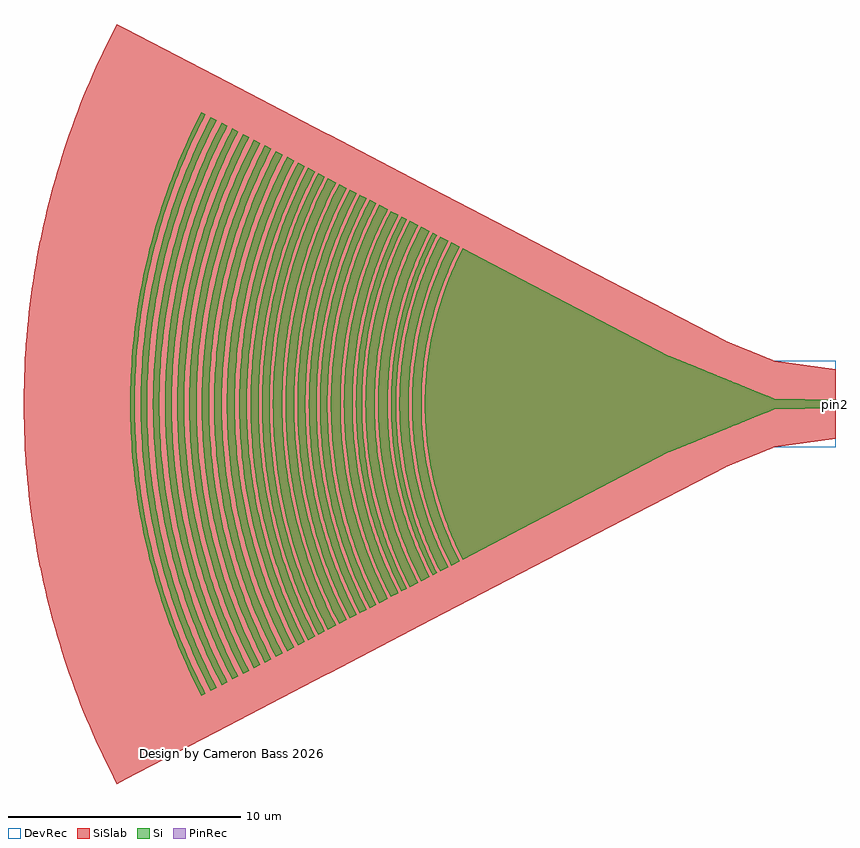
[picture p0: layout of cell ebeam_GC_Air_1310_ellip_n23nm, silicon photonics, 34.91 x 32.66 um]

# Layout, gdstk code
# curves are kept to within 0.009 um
import gdstk
lib = gdstk.Library(unit=1e-6, precision=1e-09)
def P(c, l, *ps):  # polygons
    for p in ps: c.add(gdstk.Polygon(p, *l))
Si = (1, 0)
PinRec = (1, 10)
SiSlab = (2, 0)
DevRec = (68, 0)

ebeam_gc_air_1310_ellip_ = lib.new_cell('ebeam_GC_Air_1310_ellip_n23nm')
P(ebeam_gc_air_1310_ellip_, Si, [(-16.038,-6.685),(-16.389,-5.959),(-16.713,-5.177),(-16.991,-4.377),(-17.256,-3.425),(-17.431,-2.597),(-17.558,-1.76),(-17.636,-0.916),(-17.664,-0.071),(-17.644,0.776),(-17.574,1.621),(-17.455,2.458),(-17.289,3.289),(-17.073,4.107),(-16.762,5.045),(-16.446,5.831),(-16.038,6.685),(-7.161,2.062),(-3.194,0.443),(-2.886,0.329),(-2.7,0.241),(-2.652,0.227),(0,0.175),(0,-0.175),(-2.684,-0.235),(-2.855,-0.316),(-3.209,-0.449),(-7.132,-2.049)],
  [(-16.531,-6.94),(-16.892,-6.189),(-17.229,-5.377),(-17.517,-4.546),(-17.683,-3.984),(-17.792,-3.558),(-17.974,-2.697),(-18.105,-1.828),(-18.195,-0.806),(-18.216,0.074),(-18.186,0.953),(-18.087,1.973),(-17.947,2.841),(-17.757,3.701),(-17.517,4.546),(-17.229,5.377),(-16.892,6.189),(-16.53,6.941),(-16.168,6.752),(-16.522,6.019),(-16.9,5.096),(-17.172,4.286),(-17.397,3.461),(-17.575,2.624),(-17.703,1.778),(-17.79,0.784),(-17.81,0.071),(-17.79,-0.784),(-17.703,-1.778),(-17.575,-2.623),(-17.397,-3.46),(-17.172,-4.286),(-16.9,-5.096),(-16.522,-6.019),(-16.168,-6.752)],
  [(-17.011,-7.191),(-17.386,-6.413),(-17.735,-5.572),(-18.033,-4.711),(-18.282,-3.834),(-18.478,-2.945),(-18.623,-2.045),(-18.716,-1.138),(-18.743,-0.683),(-18.757,-0.076),(-18.735,0.835),(-18.66,1.743),(-18.603,2.196),(-18.506,2.795),(-18.318,3.687),(-18.164,4.275),(-18.033,4.711),(-17.735,5.572),(-17.386,6.413),(-17.011,7.191),(-16.659,7.008),(-16.902,6.519),(-17.085,6.114),(-17.417,5.291),(-17.7,4.449),(-17.934,3.592),(-18.118,2.724),(-18.251,1.846),(-18.332,0.962),(-18.362,0.074),(-18.341,-0.813),(-18.251,-1.846),(-18.118,-2.724),(-17.934,-3.592),(-17.7,-4.449),(-17.417,-5.291),(-17.085,-6.114),(-16.902,-6.519),(-16.659,-7.008)],
  [(-17.331,-7.358),(-17.715,-6.562),(-18.072,-5.701),(-18.377,-4.82),(-18.632,-3.923),(-18.833,-3.013),(-18.914,-2.553),(-19.001,-1.938),(-19.087,-1.009),(-19.118,-0.078),(-19.096,0.855),(-19.001,1.938),(-18.861,2.86),(-18.669,3.773),(-18.423,4.671),(-18.126,5.555),(-17.778,6.42),(-17.331,7.358),(-17.141,7.258),(-17.581,6.333),(-17.977,5.337),(-18.126,4.901),(-18.304,4.314),(-18.529,3.423),(-18.677,2.671),(-18.788,1.912),(-18.872,0.997),(-18.903,0.077),(-18.881,-0.843),(-18.822,-1.607),(-18.726,-2.367),(-18.562,-3.273),(-18.304,-4.314),(-18.126,-4.901),(-17.977,-5.336),(-17.581,-6.333),(-17.141,-7.258)],
  [(-17.828,-7.616),(-18.224,-6.791),(-18.593,-5.901),(-18.957,-4.835),(-19.211,-3.904),(-19.41,-2.96),(-19.554,-2.006),(-19.643,-1.044),(-19.676,-0.08),(-19.652,0.885),(-19.573,1.846),(-19.438,2.802),(-19.318,3.434),(-19.211,3.904),(-18.957,4.835),(-18.649,5.75),(-18.289,6.645),(-17.828,7.616),(-17.461,7.425),(-17.912,6.479),(-18.263,5.606),(-18.517,4.864),(-18.773,3.96),(-19.006,2.886),(-19.146,1.956),(-19.21,1.332),(-19.242,0.862),(-19.264,0.078),(-19.242,-0.862),(-19.21,-1.332),(-19.146,-1.956),(-19.006,-2.886),(-18.81,-3.806),(-18.563,-4.715),(-18.263,-5.606),(-17.912,-6.479),(-17.461,-7.425)],
  [(-18.308,-7.866),(-18.785,-6.862),(-19.156,-5.938),(-19.475,-4.993),(-19.613,-4.515),(-19.776,-3.87),(-19.999,-2.729),(-20.111,-1.906),(-20.193,-0.913),(-20.217,0.083),(-20.183,1.08),(-20.092,2.071),(-19.942,3.057),(-19.737,4.032),(-19.475,4.993),(-19.269,5.625),(-19.099,6.094),(-18.718,7.014),(-18.307,7.866),(-17.958,7.684),(-18.359,6.852),(-18.551,6.406),(-18.788,5.801),(-19.098,4.879),(-19.354,3.939),(-19.556,2.986),(-19.701,2.024),(-19.791,1.054),(-19.824,0.081),(-19.8,-0.892),(-19.72,-1.863),(-19.636,-2.506),(-19.556,-2.986),(-19.354,-3.938),(-19.098,-4.878),(-18.788,-5.801),(-18.359,-6.852),(-17.958,-7.684)],
  [(-18.67,-8.054),(-19.09,-7.181),(-19.481,-6.238),(-19.815,-5.274),(-20.007,-4.622),(-20.134,-4.127),(-20.247,-3.63),(-20.374,-2.962),(-20.517,-1.951),(-20.601,-0.935),(-20.625,0.085),(-20.591,1.104),(-20.497,2.121),(-20.344,3.13),(-20.134,4.127),(-20.007,4.622),(-19.815,5.274),(-19.481,6.238),(-19.09,7.181),(-18.669,8.054),(-18.437,7.934),(-18.712,7.379),(-18.986,6.767),(-19.408,5.674),(-19.566,5.196),(-19.754,4.553),(-19.918,3.903),(-20.025,3.413),(-20.17,2.587),(-20.275,1.756),(-20.34,0.921),(-20.364,0.084),(-20.34,-0.921),(-20.275,-1.756),(-20.17,-2.587),(-20.025,-3.413),(-19.918,-3.903),(-19.754,-4.553),(-19.566,-5.196),(-19.408,-5.674),(-19.236,-6.145),(-18.986,-6.767),(-18.712,-7.379),(-18.437,-7.933)],
  [(-19.127,-8.293),(-19.561,-7.394),(-19.963,-6.423),(-20.199,-5.764),(-20.359,-5.263),(-20.636,-4.249),(-20.852,-3.222),(-21.01,-2.183),(-21.106,-1.137),(-21.142,-0.088),(-21.132,0.613),(-21.106,1.137),(-21.01,2.183),(-20.852,3.222),(-20.636,4.25),(-20.359,5.263),(-20.024,6.259),(-19.632,7.234),(-19.415,7.711),(-19.127,8.293),(-18.8,8.122),(-19.225,7.241),(-19.493,6.61),(-19.678,6.13),(-20.006,5.155),(-20.277,4.162),(-20.49,3.156),(-20.644,2.139),(-20.738,1.114),(-20.773,0.086),(-20.748,-0.943),(-20.664,-1.969),(-20.52,-2.987),(-20.426,-3.493),(-20.277,-4.162),(-20.006,-5.155),(-19.678,-6.13),(-19.294,-7.084),(-19.082,-7.553),(-18.8,-8.122)],
  [(-19.626,-8.553),(-20.072,-7.626),(-20.487,-6.626),(-20.729,-5.946),(-20.895,-5.429),(-21.18,-4.384),(-21.403,-3.324),(-21.565,-2.252),(-21.665,-1.173),(-21.702,-0.09),(-21.676,0.993),(-21.586,2.073),(-21.435,3.146),(-21.3,3.855),(-21.18,4.385),(-20.895,5.429),(-20.729,5.946),(-20.487,6.626),(-20.072,7.626),(-19.626,8.553),(-19.257,8.361),(-19.695,7.453),(-20.101,6.475),(-20.281,5.978),(-20.5,5.307),(-20.736,4.456),(-20.965,3.422),(-21.134,2.377),(-21.212,1.675),(-21.253,1.146),(-21.289,0.088),(-21.284,-0.442),(-21.253,-1.146),(-21.156,-2.201),(-20.998,-3.248),(-20.778,-4.284),(-20.5,-5.306),(-20.338,-5.81),(-20.101,-6.475),(-19.767,-7.292),(-19.548,-7.774),(-19.258,-8.361)],
  [(-20.041,-8.769),(-20.5,-7.816),(-20.925,-6.791),(-21.289,-5.741),(-21.448,-5.21),(-21.636,-4.494),(-21.865,-3.407),(-22.031,-2.308),(-22.133,-1.203),(-22.171,-0.093),(-22.144,1.018),(-22.053,2.124),(-21.983,2.676),(-21.865,3.407),(-21.636,4.494),(-21.448,5.21),(-21.289,5.741),(-20.925,6.791),(-20.5,7.817),(-20.041,8.769),(-19.76,8.622),(-19.98,8.182),(-20.284,7.521),(-20.495,7.018),(-20.754,6.337),(-20.986,5.647),(-21.191,4.948),(-21.368,4.242),(-21.485,3.708),(-21.642,2.812),(-21.756,1.908),(-21.827,1.001),(-21.853,0.091),(-21.843,-0.637),(-21.774,-1.727),(-21.669,-2.631),(-21.485,-3.708),(-21.368,-4.241),(-21.191,-4.948),(-20.986,-5.646),(-20.754,-6.337),(-20.495,-7.017),(-20.284,-7.52),(-20.058,-8.018),(-19.76,-8.622)],
  [(-20.461,-8.988),(-20.933,-8.01),(-21.369,-6.958),(-21.741,-5.883),(-22.052,-4.788),(-22.223,-4.049),(-22.332,-3.491),(-22.502,-2.365),(-22.607,-1.232),(-22.646,-0.095),(-22.618,1.043),(-22.524,2.177),(-22.365,3.304),(-22.261,3.863),(-22.097,4.605),(-21.797,5.702),(-21.624,6.244),(-21.369,6.958),(-20.933,8.01),(-20.461,8.988),(-20.171,8.837),(-20.479,8.216),(-20.784,7.535),(-21.063,6.843),(-21.254,6.317),(-21.484,5.608),(-21.639,5.07),(-21.779,4.527),(-21.941,3.8),(-22.102,2.881),(-22.219,1.955),(-22.291,1.025),(-22.318,0.093),(-22.3,-0.839),(-22.237,-1.77),(-22.129,-2.696),(-21.941,-3.8),(-21.779,-4.527),(-21.639,-5.07),(-21.484,-5.608),(-21.254,-6.317),(-21.063,-6.842),(-20.784,-7.535),(-20.479,-8.216),(-20.172,-8.837)],
  [(-20.896,-9.214),(-21.381,-8.207),(-21.827,-7.131),(-22.209,-6.029),(-22.528,-4.907),(-22.662,-4.339),(-22.815,-3.577),(-22.99,-2.424),(-23.097,-1.262),(-23.136,-0.097),(-23.131,0.486),(-23.097,1.263),(-22.99,2.424),(-22.815,3.578),(-22.574,4.719),(-22.267,5.843),(-21.895,6.949),(-21.46,8.031),(-21.218,8.561),(-20.896,9.214),(-20.596,9.057),(-20.913,8.417),(-21.225,7.719),(-21.51,7.01),(-21.707,6.472),(-21.887,5.927),(-22.102,5.194),(-22.245,4.638),(-22.411,3.893),(-22.576,2.951),(-22.696,2.003),(-22.77,1.051),(-22.798,0.096),(-22.779,-0.86),(-22.715,-1.813),(-22.604,-2.762),(-22.411,-3.893),(-22.245,-4.638),(-22.102,-5.194),(-21.887,-5.927),(-21.707,-6.472),(-21.51,-7.01),(-21.225,-7.719),(-20.913,-8.417),(-20.596,-9.057)],
  [(-21.348,-9.449),(-21.844,-8.418),(-22.302,-7.313),(-22.694,-6.183),(-22.919,-5.418),(-23.068,-4.838),(-23.315,-3.669),(-23.494,-2.486),(-23.604,-1.294),(-23.639,-0.498),(-23.644,0.1),(-23.633,0.698),(-23.604,1.295),(-23.494,2.486),(-23.315,3.669),(-23.068,4.839),(-22.919,5.418),(-22.694,6.183),(-22.302,7.313),(-21.844,8.418),(-21.347,9.449),(-21.026,9.281),(-21.267,8.801),(-21.594,8.089),(-21.821,7.548),(-22.1,6.816),(-22.35,6.073),(-22.518,5.51),(-22.716,4.753),(-22.887,3.989),(-23.056,3.025),(-23.179,2.052),(-23.255,1.076),(-23.283,0.098),(-23.264,-0.881),(-23.198,-1.858),(-23.085,-2.83),(-22.887,-3.988),(-22.716,-4.752),(-22.518,-5.51),(-22.35,-6.073),(-22.1,-6.816),(-21.821,-7.548),(-21.594,-8.089),(-21.351,-8.624),(-21.026,-9.281)],
  [(-21.836,-9.702),(-22.344,-8.645),(-22.588,-8.081),(-22.814,-7.51),(-23.217,-6.35),(-23.393,-5.762),(-23.601,-4.97),(-23.737,-4.37),(-23.854,-3.768),(-23.955,-3.161),(-24.062,-2.349),(-24.163,-1.126),(-24.192,0.103),(-24.181,0.716),(-24.151,1.33),(-24.038,2.553),(-23.854,3.768),(-23.737,4.37),(-23.601,4.97),(-23.448,5.565),(-23.277,6.154),(-23.09,6.739),(-22.885,7.319),(-22.665,7.891),(-22.427,8.458),(-22.173,9.017),(-21.835,9.703),(-21.477,9.516),(-21.811,8.843),(-22.139,8.11),(-22.366,7.552),(-22.645,6.799),(-22.834,6.227),(-23.06,5.457),(-23.21,4.873),(-23.384,4.09),(-23.558,3.101),(-23.684,2.105),(-23.762,1.104),(-23.791,0.1),(-23.772,-0.903),(-23.704,-1.905),(-23.64,-2.504),(-23.558,-3.1),(-23.384,-4.089),(-23.21,-4.873),(-23.06,-5.456),(-22.834,-6.227),(-22.645,-6.799),(-22.439,-7.365),(-22.139,-8.11),(-21.811,-8.843),(-21.477,-9.516)],
  [(-22.25,-9.918),(-22.77,-8.836),(-23.019,-8.259),(-23.251,-7.676),(-23.532,-6.888),(-23.724,-6.29),(-24.055,-5.079),(-24.193,-4.467),(-24.35,-3.645),(-24.447,-3.025),(-24.526,-2.401),(-24.629,-1.151),(-24.659,0.105),(-24.617,1.36),(-24.568,1.986),(-24.501,2.61),(-24.416,3.232),(-24.313,3.851),(-24.055,5.079),(-23.724,6.29),(-23.532,6.889),(-23.251,7.676),(-23.019,8.26),(-22.77,8.837),(-22.249,9.918),(-21.964,9.77),(-22.306,9.08),(-22.561,8.517),(-22.8,7.947),(-23.094,7.176),(-23.294,6.591),(-23.533,5.802),(-23.693,5.205),(-23.88,4.401),(-23.999,3.794),(-24.1,3.184),(-24.229,2.161),(-24.309,1.133),(-24.339,0.103),(-24.309,-1.133),(-24.229,-2.161),(-24.1,-3.183),(-23.999,-3.794),(-23.88,-4.401),(-23.693,-5.205),(-23.533,-5.801),(-23.294,-6.59),(-23.094,-7.176),(-22.8,-7.947),(-22.561,-8.516),(-22.306,-9.08),(-21.964,-9.77)],
  [(-22.683,-10.144),(-23.218,-9.035),(-23.473,-8.445),(-23.71,-7.849),(-24.13,-6.636),(-24.372,-5.815),(-24.532,-5.193),(-24.674,-4.567),(-24.796,-3.938),(-24.902,-3.304),(-24.989,-2.668),(-25.057,-2.03),(-25.107,-1.389),(-25.138,-0.749),(-25.15,-0.107),(-25.144,0.536),(-25.119,1.177),(-25.076,1.817),(-25.014,2.455),(-24.933,3.093),(-24.834,3.727),(-24.674,4.567),(-24.532,5.193),(-24.372,5.815),(-24.193,6.432),(-23.997,7.044),(-23.784,7.649),(-23.554,8.247),(-23.305,8.84),(-22.947,9.617),(-22.683,10.144),(-22.381,9.987),(-22.732,9.28),(-22.993,8.704),(-23.237,8.122),(-23.537,7.334),(-23.806,6.535),(-23.986,5.929),(-24.15,5.319),(-24.341,4.498),(-24.533,3.463),(-24.676,2.419),(-24.767,1.369),(-24.798,0.738),(-24.81,0.105),(-24.79,-0.948),(-24.753,-1.579),(-24.698,-2.208),(-24.566,-3.253),(-24.341,-4.498),(-24.15,-5.319),(-23.986,-5.929),(-23.806,-6.535),(-23.537,-7.334),(-23.237,-8.122),(-22.993,-8.704),(-22.732,-9.28),(-22.381,-9.987)],
  [(-23.115,-10.369),(-23.665,-9.23),(-23.925,-8.627),(-24.168,-8.018),(-24.598,-6.779),(-24.786,-6.151),(-25.008,-5.306),(-25.153,-4.666),(-25.279,-4.023),(-25.386,-3.376),(-25.475,-2.726),(-25.545,-2.074),(-25.596,-1.419),(-25.628,-0.765),(-25.64,-0.109),(-25.634,0.547),(-25.609,1.202),(-25.564,1.856),(-25.501,2.508),(-25.418,3.16),(-25.279,4.023),(-25.008,5.306),(-24.844,5.941),(-24.662,6.57),(-24.462,7.196),(-24.244,7.814),(-24.008,8.425),(-23.754,9.03),(-23.483,9.627),(-23.115,10.369),(-22.829,10.221),(-23.19,9.492),(-23.543,8.706),(-23.787,8.107),(-24.014,7.502),(-24.289,6.685),(-24.474,6.065),(-24.641,5.441),(-24.837,4.601),(-25.034,3.542),(-25.127,2.902),(-25.202,2.259),(-25.285,1.185),(-25.317,0.108),(-25.296,-0.97),(-25.258,-1.615),(-25.202,-2.259),(-25.034,-3.542),(-24.837,-4.601),(-24.641,-5.441),(-24.474,-6.065),(-24.289,-6.685),(-24.014,-7.502),(-23.787,-8.107),(-23.457,-8.903),(-23.19,-9.492),(-22.829,-10.22)],
  [(-23.584,-10.614),(-24.151,-9.441),(-24.417,-8.825),(-24.665,-8.202),(-24.894,-7.571),(-25.105,-6.935),(-25.298,-6.292),(-25.472,-5.644),(-25.627,-4.991),(-25.802,-4.115),(-25.913,-3.452),(-26.004,-2.788),(-26.075,-2.121),(-26.127,-1.452),(-26.16,-0.782),(-26.173,-0.112),(-26.166,0.559),(-26.14,1.23),(-26.095,1.899),(-26.03,2.566),(-25.945,3.232),(-25.841,3.895),(-25.718,4.555),(-25.525,5.428),(-25.358,6.077),(-25.171,6.721),(-24.966,7.361),(-24.743,7.993),(-24.502,8.618),(-24.242,9.237),(-23.964,9.848),(-23.584,10.614),(-23.288,10.459),(-23.66,9.708),(-23.933,9.106),(-24.189,8.497),(-24.503,7.673),(-24.717,7.047),(-24.974,6.203),(-25.145,5.565),(-25.345,4.706),(-25.547,3.622),(-25.696,2.53),(-25.759,1.872),(-25.804,1.212),(-25.836,0.11),(-25.815,-0.992),(-25.777,-1.652),(-25.719,-2.31),(-25.642,-2.967),(-25.547,-3.622),(-25.345,-4.706),(-25.145,-5.565),(-24.974,-6.203),(-24.717,-7.046),(-24.503,-7.672),(-24.189,-8.497),(-23.933,-9.106),(-23.565,-9.907),(-23.287,-10.459)],
  [(-24.068,-10.865),(-24.36,-10.281),(-24.65,-9.659),(-24.923,-9.028),(-25.177,-8.391),(-25.485,-7.53),(-25.695,-6.876),(-25.886,-6.217),(-26.057,-5.552),(-26.209,-4.883),(-26.341,-4.21),(-26.454,-3.532),(-26.547,-2.852),(-26.62,-2.17),(-26.673,-1.485),(-26.707,-0.8),(-26.72,-0.114),(-26.713,0.572),(-26.687,1.258),(-26.62,2.17),(-26.547,2.853),(-26.454,3.532),(-26.341,4.21),(-26.161,5.107),(-26.057,5.553),(-25.886,6.217),(-25.695,6.876),(-25.411,7.747),(-25.177,8.391),(-24.923,9.029),(-24.65,9.659),(-24.36,10.281),(-24.068,10.865),(-23.776,10.713),(-24.063,10.141),(-24.349,9.528),(-24.617,8.906),(-24.947,8.066),(-25.243,7.213),(-25.444,6.566),(-25.625,5.915),(-25.838,5.037),(-26.056,3.93),(-26.16,3.261),(-26.246,2.59),(-26.344,1.465),(-26.377,0.79),(-26.39,0.113),(-26.368,-1.015),(-26.328,-1.691),(-26.27,-2.365),(-26.191,-3.038),(-26.093,-3.708),(-25.886,-4.817),(-25.736,-5.476),(-25.506,-6.349),(-25.312,-6.998),(-25.024,-7.854),(-24.786,-8.487),(-24.44,-9.321),(-24.063,-10.141),(-23.776,-10.713)],
  [(-24.537,-11.11),(-24.839,-10.509),(-25.136,-9.872),(-25.415,-9.228),(-25.674,-8.577),(-25.914,-7.917),(-26.135,-7.252),(-26.399,-6.355),(-26.575,-5.675),(-26.73,-4.991),(-26.865,-4.303),(-26.98,-3.61),(-27.075,-2.916),(-27.15,-2.218),(-27.205,-1.518),(-27.239,-0.818),(-27.252,-0.117),(-27.239,0.818),(-27.205,1.519),(-27.15,2.219),(-27.075,2.916),(-26.98,3.611),(-26.865,4.303),(-26.681,5.22),(-26.575,5.675),(-26.399,6.355),(-26.135,7.252),(-25.914,7.917),(-25.673,8.577),(-25.415,9.229),(-25.136,9.873),(-24.839,10.509),(-24.537,11.11),(-24.257,10.964),(-24.654,10.165),(-24.941,9.534),(-25.209,8.896),(-25.538,8.033),(-25.762,7.378),(-25.967,6.717),(-26.211,5.826),(-26.37,5.152),(-26.511,4.474),(-26.632,3.793),(-26.788,2.649),(-26.889,1.499),(-26.922,0.808),(-26.935,0.115),(-26.929,-0.577),(-26.902,-1.269),(-26.812,-2.419),(-26.732,-3.107),(-26.632,-3.793),(-26.42,-4.927),(-26.211,-5.826),(-26.031,-6.494),(-25.833,-7.158),(-25.538,-8.033),(-25.209,-8.896),(-24.941,-9.534),(-24.654,-10.165),(-24.257,-10.964)],
  [(-25.01,-11.356),(-25.32,-10.739),(-25.624,-10.089),(-25.908,-9.431),(-26.174,-8.765),(-26.418,-8.091),(-26.644,-7.411),(-26.851,-6.724),(-27.037,-6.031),(-27.202,-5.334),(-27.347,-4.631),(-27.471,-3.926),(-27.576,-3.217),(-27.659,-2.505),(-27.722,-1.79),(-27.773,-0.836),(-27.787,-0.12),(-27.78,0.597),(-27.752,1.314),(-27.703,2.029),(-27.634,2.742),(-27.543,3.454),(-27.391,4.397),(-27.253,5.101),(-27.094,5.8),(-26.915,6.494),(-26.715,7.183),(-26.496,7.865),(-26.174,8.765),(-25.908,9.431),(-25.624,10.089),(-25.32,10.739),(-25.01,11.356),(-24.737,11.214),(-25.145,10.393),(-25.438,9.748),(-25.712,9.096),(-26.049,8.214),(-26.278,7.544),(-26.488,6.867),(-26.678,6.186),(-26.9,5.268),(-27.129,4.111),(-27.238,3.411),(-27.327,2.709),(-27.396,2.004),(-27.444,1.297),(-27.478,0.118),(-27.471,-0.589),(-27.444,-1.297),(-27.352,-2.473),(-27.204,-3.644),(-27.088,-4.343),(-26.951,-5.038),(-26.737,-5.957),(-26.553,-6.64),(-26.278,-7.544),(-26.049,-8.214),(-25.712,-9.095),(-25.438,-9.748),(-25.145,-10.393),(-24.737,-11.213)],
  [(-25.473,-11.596),(-25.789,-10.965),(-26.099,-10.301),(-26.389,-9.629),(-26.66,-8.949),(-26.99,-8.03),(-27.214,-7.333),(-27.417,-6.63),(-27.6,-5.922),(-27.763,-5.208),(-27.903,-4.49),(-28.024,-3.767),(-28.123,-3.042),(-28.201,-2.315),(-28.258,-1.584),(-28.293,-0.854),(-28.308,0.122),(-28.293,0.854),(-28.258,1.584),(-28.201,2.315),(-28.123,3.042),(-28.024,3.767),(-27.903,4.49),(-27.763,5.208),(-27.542,6.158),(-27.352,6.866),(-27.141,7.567),(-26.91,8.261),(-26.66,8.95),(-26.389,9.629),(-26.099,10.302),(-25.789,10.965),(-25.472,11.596),(-25.211,11.46),(-25.629,10.62),(-25.928,9.961),(-26.298,9.07),(-26.553,8.393),(-26.787,7.708),(-27.001,7.018),(-27.196,6.321),(-27.423,5.383),(-27.57,4.674),(-27.696,3.963),(-27.859,2.768),(-27.964,1.567),(-27.999,0.844),(-28.013,0.121),(-27.99,-1.085),(-27.948,-1.807),(-27.885,-2.527),(-27.801,-3.246),(-27.696,-3.962),(-27.475,-5.147),(-27.256,-6.087),(-27.068,-6.785),(-26.861,-7.479),(-26.553,-8.393),(-26.298,-9.07),(-25.928,-9.961),(-25.629,-10.62),(-25.211,-11.46)],
  [(-25.937,-11.838),(-26.261,-11.193),(-26.578,-10.515),(-26.874,-9.83),(-27.151,-9.136),(-27.406,-8.433),(-27.642,-7.724),(-27.857,-7.009),(-28.051,-6.286),(-28.276,-5.316),(-28.42,-4.583),(-28.542,-3.846),(-28.644,-3.105),(-28.724,-2.363),(-28.782,-1.617),(-28.818,-0.871),(-28.832,-0.125),(-28.818,0.871),(-28.782,1.617),(-28.724,2.363),(-28.644,3.106),(-28.542,3.847),(-28.42,4.583),(-28.275,5.316),(-28.11,6.045),(-27.924,6.769),(-27.716,7.486),(-27.487,8.198),(-27.151,9.136),(-26.874,9.83),(-26.578,10.515),(-26.261,11.193),(-25.937,11.839),(-25.681,11.705),(-26.002,11.068),(-26.414,10.173),(-26.7,9.492),(-27.052,8.571),(-27.291,7.872),(-27.579,6.93),(-27.77,6.217),(-27.994,5.257),(-28.219,4.047),(-28.386,2.827),(-28.458,2.091),(-28.508,1.354),(-28.544,0.123),(-28.536,-0.615),(-28.508,-1.354),(-28.412,-2.581),(-28.326,-3.315),(-28.219,-4.046),(-27.994,-5.257),(-27.77,-6.216),(-27.579,-6.929),(-27.291,-7.872),(-27.052,-8.571),(-26.7,-9.491),(-26.414,-10.172),(-26.002,-11.067),(-25.681,-11.705)],
  [(-26.396,-12.077),(-26.727,-11.418),(-27.05,-10.727),(-27.352,-10.027),(-27.634,-9.319),(-27.895,-8.602),(-28.135,-7.879),(-28.354,-7.149),(-28.552,-6.413),(-28.782,-5.423),(-28.929,-4.675),(-29.054,-3.923),(-29.157,-3.168),(-29.239,-2.41),(-29.298,-1.65),(-29.335,-0.889),(-29.35,-0.127),(-29.342,0.636),(-29.313,1.397),(-29.261,2.157),(-29.187,2.916),(-29.091,3.672),(-28.929,4.675),(-28.781,5.423),(-28.613,6.167),(-28.423,6.905),(-28.211,7.637),(-27.977,8.363),(-27.723,9.081),(-27.449,9.792),(-27.153,10.495),(-26.837,11.189),(-26.396,12.077),(-26.15,11.949),(-26.587,11.071),(-26.899,10.384),(-27.284,9.456),(-27.55,8.75),(-27.794,8.036),(-28.088,7.074),(-28.283,6.346),(-28.457,5.612),(-28.611,4.873),(-28.742,4.131),(-28.912,2.886),(-29.022,1.633),(-29.058,0.88),(-29.073,0.126),(-29.065,-0.628),(-29.036,-1.382),(-28.939,-2.635),(-28.851,-3.384),(-28.742,-4.131),(-28.511,-5.366),(-28.283,-6.346),(-28.088,-7.073),(-27.871,-7.796),(-27.55,-8.749),(-27.191,-9.689),(-26.899,-10.384),(-26.587,-11.071),(-26.15,-11.949)],
  [(-26.866,-12.322),(-27.196,-11.663),(-27.526,-10.957),(-27.835,-10.243),(-28.122,-9.52),(-28.472,-8.543),(-28.71,-7.801),(-28.926,-7.053),(-29.121,-6.298),(-29.293,-5.539),(-29.442,-4.776),(-29.57,-4.007),(-29.676,-3.236),(-29.758,-2.462),(-29.819,-1.685),(-29.857,-0.908),(-29.872,-0.13),(-29.857,0.908),(-29.819,1.685),(-29.758,2.462),(-29.676,3.236),(-29.57,4.008),(-29.442,4.776),(-29.293,5.54),(-29.121,6.298),(-28.926,7.053),(-28.71,7.801),(-28.472,8.543),(-28.213,9.277),(-27.933,10.002),(-27.631,10.721),(-27.309,11.429),(-26.866,12.323),(-26.617,12.193),(-27.063,11.296),(-27.382,10.595),(-27.68,9.886),(-27.958,9.168),(-28.215,8.442),(-28.45,7.71),(-28.73,6.723),(-28.915,5.976),(-29.079,5.224),(-29.22,4.467),(-29.339,3.707),(-29.436,2.944),(-29.51,2.178),(-29.562,1.41),(-29.6,0.128),(-29.575,-1.154),(-29.53,-1.922),(-29.463,-2.688),(-29.302,-3.96),(-29.175,-4.72),(-29.026,-5.475),(-28.794,-6.474),(-28.594,-7.217),(-28.374,-7.955),(-28.046,-8.927),(-27.68,-9.886),(-27.382,-10.595),(-27.063,-11.296),(-26.617,-12.192)],
  [(-27.264,-12.53),(-27.608,-11.843),(-27.943,-11.126),(-28.256,-10.401),(-28.548,-9.666),(-28.818,-8.924),(-29.067,-8.173),(-29.365,-7.162),(-29.562,-6.397),(-29.737,-5.625),(-29.889,-4.849),(-30.019,-4.069),(-30.126,-3.286),(-30.21,-2.5),(-30.266,-1.792),(-30.31,-0.922),(-30.325,-0.132),(-30.317,0.659),(-30.287,1.449),(-30.233,2.238),(-30.126,3.286),(-30.019,4.069),(-29.889,4.85),(-29.737,5.625),(-29.562,6.397),(-29.365,7.162),(-29.145,7.921),(-28.904,8.674),(-28.64,9.42),(-28.356,10.157),(-28.05,10.886),(-27.722,11.606),(-27.264,12.53),(-27.096,12.442),(-27.43,11.776),(-27.762,11.064),(-28.172,10.1),(-28.456,9.366),(-28.718,8.625),(-28.958,7.877),(-29.244,6.868),(-29.432,6.105),(-29.698,4.822),(-29.827,4.046),(-29.933,3.268),(-30.017,2.486),(-30.078,1.702),(-30.116,0.917),(-30.131,0.131),(-30.106,-1.179),(-30.06,-1.964),(-29.991,-2.746),(-29.9,-3.527),(-29.786,-4.306),(-29.65,-5.079),(-29.49,-5.849),(-29.309,-6.615),(-29.106,-7.373),(-28.88,-8.127),(-28.546,-9.12),(-28.172,-10.1),(-27.868,-10.824),(-27.543,-11.54),(-27.096,-12.442)])
P(ebeam_gc_air_1310_ellip_, SiSlab, [(-30.904,-16.329),(-31.366,-15.41),(-31.801,-14.477),(-32.208,-13.533),(-32.588,-12.577),(-32.94,-11.61),(-33.264,-10.634),(-33.559,-9.648),(-33.825,-8.655),(-34.062,-7.654),(-34.27,-6.647),(-34.449,-5.634),(-34.598,-4.616),(-34.717,-3.594),(-34.807,-2.569),(-34.867,-1.543),(-34.9,-0.171),(-34.89,0.857),(-34.85,1.885),(-34.781,2.912),(-34.681,3.935),(-34.552,4.956),(-34.393,5.972),(-34.135,7.319),(-33.907,8.322),(-33.651,9.318),(-33.365,10.307),(-33.051,11.286),(-32.709,12.256),(-32.338,13.216),(-31.94,14.164),(-31.366,15.41),(-30.904,16.329),(-4.744,2.708),(-2.65,1.855),(0,1.5),(0,-1.5),(-2.65,-1.855),(-4.728,-2.7)])
P(ebeam_gc_air_1310_ellip_, DevRec, [(-30.904,-16.329),(-31.366,-15.41),(-31.801,-14.477),(-32.208,-13.533),(-32.588,-12.577),(-32.94,-11.61),(-33.264,-10.634),(-33.559,-9.648),(-33.825,-8.655),(-34.062,-7.654),(-34.27,-6.647),(-34.449,-5.634),(-34.598,-4.616),(-34.717,-3.594),(-34.807,-2.569),(-34.867,-1.543),(-34.9,-0.171),(-34.89,0.857),(-34.85,1.885),(-34.781,2.912),(-34.681,3.935),(-34.552,4.956),(-34.393,5.972),(-34.135,7.319),(-33.907,8.322),(-33.651,9.318),(-33.365,10.307),(-33.051,11.286),(-32.709,12.256),(-32.338,13.216),(-31.94,14.164),(-31.366,15.41),(-30.904,16.329),(-4.744,2.708),(-2.65,1.855),(0,1.855),(0,-1.855),(-2.65,-1.855),(-4.728,-2.7)])
ebeam_gc_air_1310_ellip_.add(gdstk.FlexPath([(-0.01,0),(0.01,0)], 0.35, ends="flush", simple_path=True, layer=1, datatype=10))  # PinRec
ebeam_gc_air_1310_ellip_.add(gdstk.Label('pin2', (0,0), layer=1, texttype=10))
ebeam_gc_air_1310_ellip_.add(gdstk.Label('Design by Cameron Bass 2026', (-25.94,-15.02), layer=10, texttype=0))

lib.write_gds('ebeam_GC_Air_1310_ellip_n23nm.gds')
